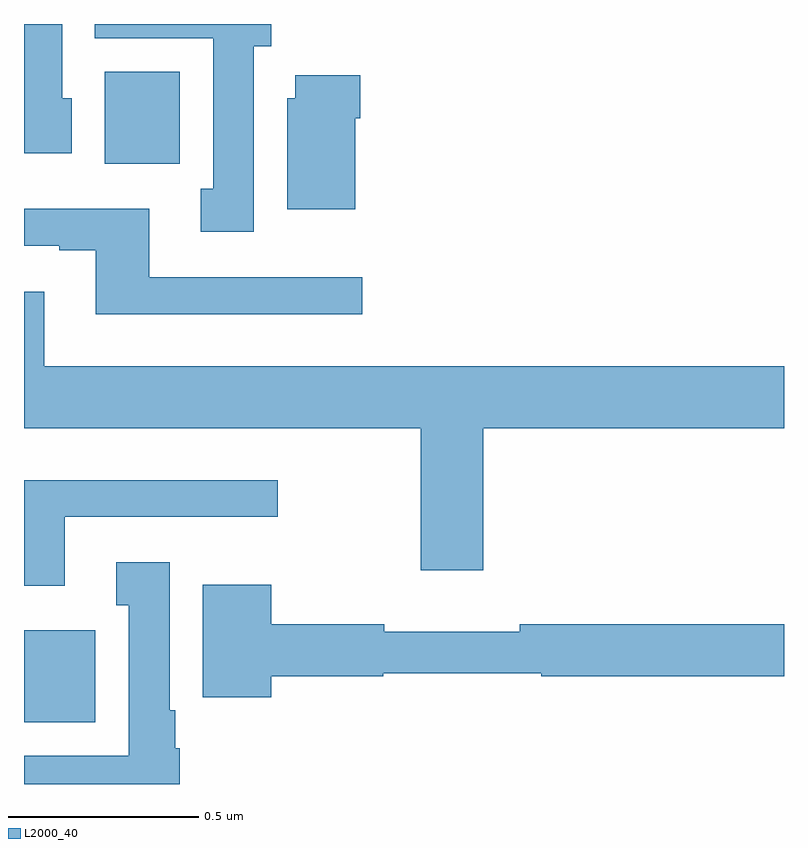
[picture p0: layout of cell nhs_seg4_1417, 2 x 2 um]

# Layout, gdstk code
import gdstk
lib = gdstk.Library(unit=1e-6, precision=1e-09)
def R(c, l, rs):  # rectangles x0, y0, x1, y1
    for r in rs: c.add(gdstk.rectangle(r[:2], r[2:], *l))
def P(c, l, *ps):  # polygons
    for p in ps: c.add(gdstk.Polygon(p, *l))
L2000_40 = (2000, 40)

nhs_seg4_1417 = lib.new_cell('nhs_seg4_1417')
R(nhs_seg4_1417, L2000_40, [(128,780.062,128.188,780.304), (128.213,781.532,128.41,781.774)])
P(nhs_seg4_1417, L2000_40, [(128.605,781.842),(128.65,781.842),(128.65,781.9),(128.186,781.9),(128.186,781.862),(128.498,781.862),(128.498,781.466),(128.465,781.466),(128.465,781.353),(128.605,781.353)],
  [(128.125,781.704),(128.101,781.704),(128.101,781.9),(128,781.9),(128,781.56),(128.125,781.56)],
  [(128.872,781.652),(128.885,781.652),(128.885,781.765),(128.714,781.765),(128.714,781.704),(128.693,781.704),(128.693,781.412),(128.872,781.412)],
  [(128.89,781.233),(128.329,781.233),(128.329,781.414),(128,781.414),(128,781.317),(128.093,781.317),(128.093,781.305),(128.189,781.305),(128.189,781.136),(128.89,781.136)],
  [(129.208,780.836),(130,780.836),(130,781),(128.053,781),(128.053,781.195),(128,781.195),(128,780.836),(129.044,780.836),(129.044,780.462),(129.208,780.462)],
  [(128.107,780.603),(128.668,780.603),(128.668,780.7),(128,780.7),(128,780.422),(128.107,780.422)],
  [(128.41,779.994),(128.398,779.994),(128.398,780.094),(128.383,780.094),(128.383,780.484),(128.243,780.484),(128.243,780.371),(128.276,780.371),(128.276,779.974),(128,779.974),(128,779.9),(128.41,779.9)],
  [(128.65,780.184),(128.946,780.184),(128.946,780.192),(129.361,780.192),(129.361,780.184),(130,780.184),(130,780.32),(129.304,780.32),(129.304,780.301),(128.948,780.301),(128.948,780.32),(128.65,780.32),(128.65,780.424),(128.471,780.424),(128.471,780.128),(128.65,780.128)])

lib.write_gds('nhs_seg4_1417.gds')
